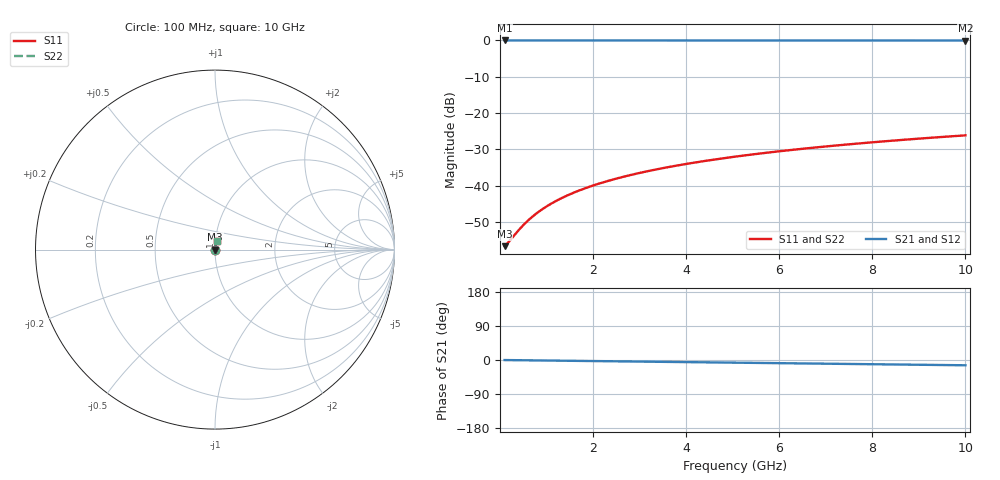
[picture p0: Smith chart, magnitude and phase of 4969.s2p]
# Hz S RI R 50.00
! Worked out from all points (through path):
!   100 points, 100 MHz to 10 GHz, reference 50 ohm
!   highest |S21| = -0.01 dB at 100 MHz (marker M1); lowest = 0.0 dB at 10 GHz (marker M2)
!   group delay of S21, straight-line fit = 3.87 ps
!   lowest |S11| = -56.7 dB at 100 MHz (marker M3), VSWR 1.00, Z = 50.1 + j0.0495 ohm
!   |S11| at or under -10 dB: start of sweep to end of sweep
!   |S22| runs from -56.7 to -26.2 dB; largest |S21 - S12| = 0
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1e8  0.00138 0.000493  0.9986 -0.00242  0.9986 -0.00242  0.00138 0.000493
2e8  0.00139 0.000987  0.9986 -0.00484  0.9986 -0.00484  0.00139 0.000987
4e8  0.00142 0.00197  0.9985 -0.00968  0.9985 -0.00968  0.00142 0.00197
5e8  0.00143 0.00247  0.9985 -0.0121  0.9985 -0.0121  0.00143 0.00247
6e8  0.00145 0.00296  0.9985 -0.0145  0.9985 -0.0145  0.00145 0.00296
7e8  0.00147 0.00345  0.9984 -0.0169  0.9984 -0.0169  0.00147 0.00345
8e8  0.00149 0.00395  0.9984 -0.0194  0.9984 -0.0194  0.00149 0.00395
1e9  0.00154 0.00493  0.9983 -0.0242  0.9983 -0.0242  0.00154 0.00493
1.2e9  0.00159 0.00592  0.9981 -0.029  0.9981 -0.029  0.00159 0.00592
1.5e9  0.00169 0.00739  0.9979 -0.0363  0.9979 -0.0363  0.00169 0.00739
1.8e9  0.00182 0.00887  0.9975 -0.0436  0.9975 -0.0436  0.00182 0.00887
2.1e9  0.00196 0.0103  0.9972 -0.0508  0.9972 -0.0508  0.00196 0.0103
2.5e9  0.00219 0.0123  0.9966 -0.0605  0.9966 -0.0605  0.00219 0.0123
2.9e9  0.00245 0.0143  0.9959 -0.0702  0.9959 -0.0702  0.00245 0.0143
3.4e9  0.00283 0.0167  0.995 -0.0822  0.995 -0.0822  0.00283 0.0167
4.2e9  0.00356 0.0206  0.9931 -0.1015  0.9931 -0.1015  0.00356 0.0206
5.1e9  0.00456 0.0249  0.9905 -0.1232  0.9905 -0.1232  0.00456 0.0249
5.9e9  0.00561 0.0287  0.9878 -0.1425  0.9878 -0.1425  0.00561 0.0287
6.7e9  0.00681 0.0324  0.9847 -0.1617  0.9847 -0.1617  0.00681 0.0324
7.5e9  0.00815 0.0362  0.9812 -0.1808  0.9812 -0.1808  0.00815 0.0362
8.4e9  0.00984 0.0403  0.9768 -0.2023  0.9768 -0.2023  0.00984 0.0403
1e10  0.0133 0.0474  0.9678 -0.2402  0.9678 -0.2402  0.0133 0.0474
